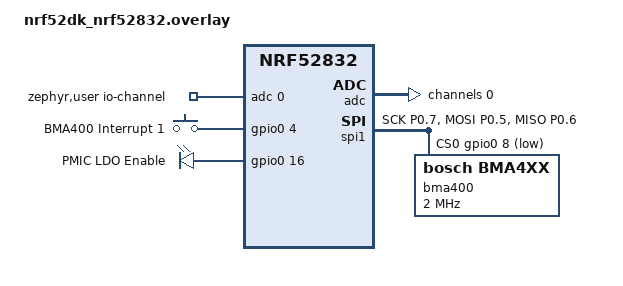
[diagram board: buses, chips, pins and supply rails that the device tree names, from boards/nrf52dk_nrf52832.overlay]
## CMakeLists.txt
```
#
# Copyright (c) 2016 Intel Corporation
#
# SPDX-License-Identifier: Apache-2.0
#

cmake_minimum_required(VERSION 3.20.0)
find_package(Zephyr REQUIRED HINTS $ENV{ZEPHYR_BASE})
project(nrf_connect_sdk_fundamentals)

target_sources(app PRIVATE src/main.c)
```

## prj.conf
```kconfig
#
# Copyright (c) 2024 Nordic Semiconductor
#
# SPDX-License-Identifier: LicenseRef-Nordic-5-Clause
#

CONFIG_LOG=y
CONFIG_LOG_MODE_IMMEDIATE=y
CONFIG_THREAD_NAME=y

# CONFIG_SERIAL=y
CONFIG_UART_ASYNC_API=y

# BLE
CONFIG_BT=y
CONFIG_BT_DEVICE_NAME="BHAR"
CONFIG_BT_OBSERVER=y
CONFIG_BT_SCAN=y
CONFIG_BT_SCAN_FILTER_ENABLE=y
CONFIG_BT_CENTRAL=y
CONFIG_BT_PERIPHERAL=y
CONFIG_BT_SCAN_ADDRESS_CNT=5
CONFIG_MAIN_STACK_SIZE=16384
CONFIG_BT_RX_STACK_SIZE=4096
CONFIG_DK_LIBRARY=y
# CONFIG_LOG_BUFFER_SIZE=10120

CONFIG_BT_PRIVACY=n
CONFIG_BT_CTLR_PRIVACY=n
CONFIG_BT_SCAN_WITH_IDENTITY=y
# CONFIG_BT_CRYPTO=y
```

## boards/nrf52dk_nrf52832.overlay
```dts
/* STEP 2.1 - Create an overlay file for your board */

/ {
    chosen {
        zephyr,bt-hci = &hci_sw_ble;
    };
    hci_sw_ble: hci_sw_ble {
        compatible = "zephyr,bt-hci-ll-sw-split";
        status = "okay";
    };
};

/{
	zephyr,user {
		io-channels = <&adc 0>;
	};
};

&adc {
	#address-cells = <1>;
	#size-cells = <0>;
	status = "okay";
	channel@0 {
		reg = <0>;
		zephyr,gain = "ADC_GAIN_1_3";
		zephyr,reference = "ADC_REF_INTERNAL";
		zephyr,acquisition-time = <ADC_ACQ_TIME(ADC_ACQ_TIME_MICROSECONDS, 10)>;
		zephyr,input-positive = <NRF_SAADC_AIN0>; /* P0.02 for nRF52xx, P0.04 for nRF53xx */
		zephyr,resolution = <12>;
	};
};


/{
    inputs {
        compatible = "gpio-keys";
        bmaint1: bmaint_1 {
            gpios = <&gpio0 4 (GPIO_PULL_DOWN | GPIO_ACTIVE_HIGH)>;
            label = "BMA400 Interrupt 1";
        };
    };

    aliases {
        int1 = &bmaint1;
    };
};

/{
    /delete-node/ buttons;

	outputs {
		compatible = "gpio-leds";
		pmic_hen: h_en {
			gpios = <&gpio0 16 GPIO_ACTIVE_HIGH>;
			label = "PMIC LDO Enable";
		};
	};

	aliases {
        hen = &pmic_hen;
        /delete-property/ sw0;
		/delete-property/ sw1;
		/delete-property/ sw2;
		/delete-property/ sw3;
        /delete-property/ mcuboot-button0;
    };
};

/* STEP 2.2 - Change the pin configuration */
&i2c0 {	status = "disabled";};
&spi0 {	status = "disabled";};
&i2c1 {	status = "disabled";};
&uart0 { status = "disabled";};
&spi2 { status = "disabled";};
&pwm0 { status = "disabled";};
&gpio0 {
	status = "okay";
	sense-edge-mask = < 0xffffffff >;
};
&spi1 {
 compatible = "nordic,nrf-spi"; //using SPI as per ERRATA 58
 status = "okay";
 pinctrl-0 = <&spi1_default>;
 pinctrl-1 = <&spi1_sleep>;
 pinctrl-names = "default", "sleep";
 cs-gpios = <&gpio0 8 GPIO_ACTIVE_LOW>;
 bma400: bma400@0 {
 compatible = "bosch,bma4xx";
 reg = <0>;
 spi-max-frequency = <2000000>;
 };
};

&pinctrl {
 spi1_default: spi1_default {
 group1 {
 psels = <NRF_PSEL(SPIM_SCK, 0, 7)>,
 <NRF_PSEL(SPIM_MOSI, 0, 5)>,
 <NRF_PSEL(SPIM_MISO, 0, 6)>;
 };
 };
 spi1_sleep: spi1_sleep {
 group1 {
 psels = <NRF_PSEL(SPIM_SCK, 0, 7)>,
 <NRF_PSEL(SPIM_MOSI, 0, 5)>,
 <NRF_PSEL(SPIM_MISO, 0, 6)>;
 low-power-enable;
 };
 };
};
```

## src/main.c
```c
/*
 * Copyright (c) 2024 Nordic Semiconductor ASA
 *
 * SPDX-License-Identifier: LicenseRef-Nordic-5-Clause
 */

#include <zephyr/kernel.h>
#include <zephyr/logging/log.h>
#include <zephyr/device.h>
#include <zephyr/pm/device.h>
#include <zephyr/devicetree.h>
#include <zephyr/drivers/gpio.h>
#include <zephyr/drivers/spi.h>
#include "bma400.h"
#include "bma400_defs.h"


#include <zephyr/bluetooth/addr.h>
#include <zephyr/drivers/adc.h>

//BLE STUFF
#include <zephyr/bluetooth/bluetooth.h>
#include <zephyr/bluetooth/conn.h>
#include <zephyr/bluetooth/gatt.h>
#include <zephyr/bluetooth/gap.h>

#include <zephyr/bluetooth/hci_types.h>
#include <zephyr/bluetooth/hci.h>

LOG_MODULE_REGISTER(app, LOG_LEVEL_DBG);

static const uint8_t central_irk[16] = {
    0x00, 0x01, 0x02, 0x03, 0x04, 0x05, 0x06, 0x07,
    0x08, 0x09, 0x0A, 0x0B, 0x0C, 0x0D, 0x0E, 0x0F
}; /* same IRK the central uses */

// #define SENSOR_ID "FF:EE:DD:CC:BB:AA"
// #define SHIFT_AMOUNT 12

// #define SENSOR_ID "FF:EE:DD:CC:BB:AB"
// #define SHIFT_AMOUNT 8

// #define SENSOR_ID "FF:EE:DD:CC:BB:AC"
// #define SHIFT_AMOUNT 4

#define SENSOR_ID "FF:EE:DD:CC:BB:AD"
#define SHIFT_AMOUNT 0

#define CENTRAL_ID_ADDR_STR "FF:EE:DD:CC:BB:EE" /* placeholder identity, same as before */
static int hci_add_dev_to_resolving_list(const bt_addr_le_t *peer_id_addr,
                                          const uint8_t *peer_irk)
{
    struct bt_hci_cp_le_add_dev_to_rl cp = {0};
    bt_addr_le_copy(&cp.peer_id_addr, peer_id_addr);
    memcpy(cp.peer_irk, peer_irk, 16);
    struct net_buf *buf = bt_hci_cmd_create(BT_HCI_OP_LE_ADD_DEV_TO_RL, sizeof(cp));
    if (!buf) return -ENOBUFS;
    net_buf_add_mem(buf, &cp, sizeof(cp));
    return bt_hci_cmd_send_sync(BT_HCI_OP_LE_ADD_DEV_TO_RL, buf, NULL);
}
static int hci_set_addr_resolution_enable(bool enable)
{
    struct bt_hci_cp_le_set_addr_res_enable cp = { .enable = enable };
    struct net_buf *buf = bt_hci_cmd_create(BT_HCI_OP_LE_SET_ADDR_RES_ENABLE, sizeof(cp));
    if (!buf) return -ENOBUFS;
    net_buf_add_mem(buf, &cp, sizeof(cp));
    return bt_hci_cmd_send_sync(BT_HCI_OP_LE_SET_ADDR_RES_ENABLE, buf, NULL);
}


// ============= Batteryless Mode =============
#define COMPANY_ID_CODE 0x0059
int16_t adc_buf;

bool last_tx_done = true;

/* STEP 2.2 - Declare the structure for your custom data  */
typedef struct adv_mfg_data {
    uint16_t company_code; /* Company Identifier Code. */
    uint8_t samples[24];
} adv_mfg_data_type;

struct adc_sequence sequence;

static const struct adc_dt_spec adc_channel = ADC_DT_SPEC_GET(DT_PATH(zephyr_user));

struct bt_le_ext_adv *adv_set;

/* Declare external variables defined in Link Layer */
extern volatile uint8_t g_raw_scan_req_mac[6];

static const struct bt_le_adv_param *adv_param =
    BT_LE_ADV_PARAM(BT_LE_ADV_OPT_SCANNABLE | BT_LE_ADV_OPT_USE_IDENTITY, /* No options specified */
            32, /* Min Advertising Interval 250ms (400*0.625ms) */
            33, /* Max Advertising Interval 250.625ms (401*0.625ms) */
            NULL); /* Set to NULL for undirected advertising */

static const struct bt_le_adv_param *adv_param_tx_rx =
    BT_LE_ADV_PARAM(BT_LE_ADV_OPT_CONN | BT_LE_ADV_OPT_USE_IDENTITY, /* No options specified */
            32, /* Min Advertising Interval 250ms (400*0.625ms) */
            33, /* Max Advertising Interval 250.625ms (401*0.625ms) */
            NULL); /* Set to NULL for undirected advertising */


/* STEP 2.3 - Define and initialize a variable of type adv_mfg_data_type */
static adv_mfg_data_type adv_mfg_data = {
    .company_code = COMPANY_ID_CODE,
    .samples = { 0x01, 0x02, 0x03, 0x04, 0x05, 0x06,
                 0x07, 0x08, 0x09, 0x0A, 0x0B, 0x0C,
                 0x0D, 0x0E, 0x0F, 0x10, 0x11, 0x12,
                 0x13, 0x14, 0x15, 0x16, 0x17, 0x18 }
};

static unsigned char url_data[] ={0x17,'/','/','a','c','a','d','e','m','y','.',
                                 'n','o','r','d','i','c','1','2','3','4','5','6','.','.',
                                 'c','o','m'};
static const struct bt_data scan_response_data[] = {
        /* 4.2.3 Include the URL data in the scan response packet*/
		BT_DATA(BT_DATA_URI, url_data,sizeof(url_data))
};

// TODO: I think this payload is too big, need to maybe remove or shorten the name
static const struct bt_data ad_batteryless[] = {
    // BT_DATA_BYTES(BT_DATA_FLAGS, BT_LE_AD_NO_BREDR),
    // BT_DATA(BT_DATA_NAME_COMPLETE, DEVICE_NAME, DEVICE_NAME_LEN),
    /* STEP 3 - Include the Manufacturer Specific Data in the advertising packet. */
    BT_DATA(BT_DATA_MANUFACTURER_DATA, (unsigned char *)&adv_mfg_data, sizeof(adv_mfg_data)),
};

static void timer0_handler(struct k_timer *dummy);
K_TIMER_DEFINE(timer0, timer0_handler, NULL);

static void adv_scanned_cb(struct bt_le_ext_adv *adv, 
                           struct bt_le_ext_adv_scanned_info *info)
{
    k_timer_stop(&timer0);
    // uint32_t prand = ((uint32_t)g_raw_scan_req_mac[3]) | 
    //                  ((uint32_t)g_raw_scan_req_mac[4] << 8) | 
    //                  ((uint32_t)g_raw_scan_req_mac[5] << 16);
    // uint32_t extracted_payload = prand & 0x3FFFFF;

    uint16_t prand = ((uint16_t)g_raw_scan_req_mac[3]) | 
                     ((uint16_t)g_raw_scan_req_mac[4] << 8);
    uint16_t extracted_payload = (prand >> SHIFT_AMOUNT) & 0x000F;

    if(extracted_payload == 0)
    {
        k_timer_start(&timer0, K_MSEC(500), K_MSEC(500));
    }
    else if(extracted_payload == 1)
    {
        k_timer_start(&timer0, K_MSEC(1000), K_MSEC(1000));
    }
    else if(extracted_payload == 2)
    {
        k_timer_start(&timer0, K_MSEC(2000), K_MSEC(2000));
    }
    else if(extracted_payload == 3)
    {
        k_timer_start(&timer0, K_MSEC(4000), K_MSEC(4000));
    }
    else
    {
        k_timer_start(&timer0, K_MSEC(500), K_MSEC(500));
    }


	// url_data[17] = mac[0];
	// url_data[18] = mac[1];
	// url_data[19] = mac[2];
	// url_data[20] = mac[3];
	// url_data[21] = mac[4];
	// url_data[22] = mac[5];
    
    // The central can read the scan response to see if feedback was received
    url_data[17] = g_raw_scan_req_mac[0];
    url_data[18] = g_raw_scan_req_mac[1];
    url_data[19] = g_raw_scan_req_mac[2];
    url_data[20] = g_raw_scan_req_mac[3];
    url_data[21] = g_raw_scan_req_mac[4];
    url_data[22] = g_raw_scan_req_mac[5];


	url_data[24] = 0x62;
	url_data[25] = 0x65;
	url_data[26] = 0x65;
	url_data[27] = 0x66;
	// message is 28 bytes long (last idx is 28)
}

static const struct bt_le_ext_adv_cb adv_callbacks = {
    .scanned = adv_scanned_cb, // <-- Bound here
	.sent = NULL,
	.connected = NULL
};


// threads
#define STACKSIZE 2048
#define THREAD_READ_BMA_PRIORITY 7
#define THREAD_RUN_POLICY_PRIORITY 8
K_SEM_DEFINE(bma400_ready, 0, 1);
K_SEM_DEFINE(run_policy, 0, 1);

// SPI
#define SPIOP	SPI_WORD_SET(8) | SPI_TRANSFER_MSB
struct spi_dt_spec spispec = SPI_DT_SPEC_GET(DT_NODELABEL(bma400), SPIOP, 0);
uint8_t rx_buffer[128] = {0};

// interrupt GPIO
#define int_NODE DT_ALIAS(int1)
static const struct gpio_dt_spec int_pin = GPIO_DT_SPEC_GET(int_NODE, gpios);
static struct gpio_callback int_cb_data;

// PMIC EN GPIO
#define hen_NODE DT_ALIAS(hen)
static const struct gpio_dt_spec hen_pin = GPIO_DT_SPEC_GET(hen_NODE, gpios);

// BMA400
#define BMA400_REG_FIFO_CONFIG_1                  UINT8_C(0x27)
#define FIFOINTER 3
#define FIFO_SAMPLES 8 // number of samples for fifo content
#define FIFO_WATERMARK_LEVEL    UINT16_C(FIFO_SAMPLES*4) // 4 bytes per frame (XYZ+header)
#define FIFO_FULL_SIZE          UINT16_C(1024)
#define FIFO_SIZE               (FIFO_FULL_SIZE + BMA400_FIFO_BYTES_OVERREAD)
#define FIFO_ACCEL_FRAME_COUNT  UINT8_C(FIFO_SAMPLES)

BMA400_INTF_RET_TYPE read_reg_spi(uint8_t reg_address, uint8_t* data, uint32_t len, void* intf_ptr);
BMA400_INTF_RET_TYPE write_reg_spi(uint8_t reg_address, const uint8_t* data, uint32_t len, void* intf_ptr);
void bma400_delay_us(uint32_t period, void *intf_ptr) {
	k_usleep(period);
}

static uint8_t              dev_addr    = 31;
struct bma400_dev           bma_sensor         = {
        .intf = BMA400_SPI_INTF,
        .intf_ptr = &dev_addr,
        .read = read_reg_spi,
        .write = write_reg_spi,
        .delay_us = bma400_delay_us,
        .read_write_len = 8
};

struct bma400_sensor_data acc_data;

struct bma400_int_enable int_en;
struct bma400_fifo_data fifo_frame;
struct bma400_device_conf fifo_conf;
struct bma400_sensor_conf conf;
uint8_t fifo_buff[FIFO_SIZE] = { 0 };

struct bma400_fifo_sensor_data accel_data[FIFO_ACCEL_FRAME_COUNT] = { { 0 } };
struct bma400_sensor_conf settings;


void bma_int_handler(const struct device *dev, struct gpio_callback *cb, uint32_t pins)
{
	// set the semaphore
	k_sem_give(&bma400_ready);
}


void thread_read_bma400(void)
{
	while(1){
		// LOG_INF("In the read thread");
		k_sem_take(&bma400_ready, K_FOREVER); // Sleep here if semaphore is at 0
			
        // Enable SPI
        const struct device *cons = DEVICE_DT_GET(DT_NODELABEL(spi1));
        pm_device_action_run(cons, PM_DEVICE_ACTION_RESUME);

        // read data from bma400 fifo
        bma400_get_fifo_data(&fifo_frame, &bma_sensor);
        uint16_t accel_frames_req = FIFO_SAMPLES;
        bma400_extract_accel(&fifo_frame, accel_data, &accel_frames_req, &bma_sensor);

        // after reading, disable the interrupt and put the bma400 to sleep
        int_en.type = BMA400_FIFO_WM_INT_EN;
        int_en.conf = BMA400_DISABLE;
        int8_t rslt = bma400_enable_interrupt(&int_en, 1, &bma_sensor);
        bma400_set_power_mode(BMA400_MODE_SLEEP,&bma_sensor);

        // Disable SPI
        pm_device_action_run(cons, PM_DEVICE_ACTION_SUSPEND);

        // Disable GPIO
        const struct device *cons1 = DEVICE_DT_GET(DT_NODELABEL(gpio0));
        pm_device_action_run(cons1, PM_DEVICE_ACTION_SUSPEND);


        // our accelerometer data is implicitly 8 bits but stored as 16 bits
        // we have 12 bit on the acceleometer 0000 1234 5678 ABCD
        // we grab the top 8 bit (1234 5678) -> 0000 1234 5678 0000, bottom 4 get zeroed out
        // then when we put convert into int16_t we have 0000 1234 5678 0000 (top 4 coulf be 1111 if negative)
        // even though we really only have 8 bits of resolution
        // so when we want to send 8 bits, we need to shift right 4 and grab bottom 8 bits
        // then when we receive, we will shift left back 4
        // Ex: 0x01F0 = 512 = 1G. Even though 512 cannot be stored in 8 bits, the implicit resolution is 8 bits since bottom 4 always 0
        // i.e. only the middle two hex digits will actually change for positive numbers
        // 0xFE00 = -512 = -1G
        // to transmit, we need to convert back to raw bytes
        // 0x0000 -> 0x07F0 (+), 0 -> 2032 by increments of 16
        // 0x0800 -> 0xFF0 (-), -2048 -> -16 by increments of 16
        for(int i = 0; i < 8; i++)
        {
            if(accel_data[i].x < 0)
            {
                adv_mfg_data.samples[i*3] = (accel_data[i].x + 4096) >> 4;
            }
            else
            {
                adv_mfg_data.samples[i*3] = accel_data[i].x  >> 4;
            }
            if(accel_data[i].y < 0)
            {
                adv_mfg_data.samples[i*3+1] = (accel_data[i].y + 4096) >> 4;
            }
            else
            {
                adv_mfg_data.samples[i*3+1] = accel_data[i].y  >> 4;
            }
            if(accel_data[i].z < 0)
            {
                adv_mfg_data.samples[i*3+2] = (accel_data[i].z + 4096) >> 4;
            }
            else
            {
                adv_mfg_data.samples[i*3+2] = accel_data[i].z  >> 4;
            }
        }
        // if(!got_feed)
        // {
        // 	bt_le_adv_update_data(ad_tx_rx, ARRAY_SIZE(ad_tx_rx), NULL, 0); // update adv data
        // }
        // bt_le_adv_update_data(ad_batteryless, ARRAY_SIZE(ad_batteryless), NULL, 0); // update adv data
        
        // gpio_pin_set_dt(&hen_pin, 1);
        // bt_le_adv_start(adv_param, ad_batteryless, ARRAY_SIZE(ad_batteryless), NULL, 0); // start advertising
        // bt_le_adv_start(adv_param, ad_batteryless, ARRAY_SIZE(ad_batteryless), scan_response_data, ARRAY_SIZE(scan_response_data)); // start advertising
        bt_le_ext_adv_set_data(adv_set, ad_batteryless, ARRAY_SIZE(ad_batteryless),scan_response_data, ARRAY_SIZE(scan_response_data));
        
        struct bt_le_ext_adv_start_param start_param = {
            .timeout = 0,
            .num_events = 1, // Transmit once again
        };
        bt_le_ext_adv_start(adv_set, &start_param);
        // bt_le_ext_adv_start(adv_set, NULL);
        // k_sleep(K_MSEC(18)); // wait at least one cycle
        // // bt_le_adv_stop(); // stop advertising
        // bt_le_ext_adv_stop(adv_set);
        last_tx_done = true;
	}
}

// Need to make sure stack is big enough to run NN code
K_THREAD_DEFINE(thread_read_bma400_id, STACKSIZE*4, thread_read_bma400, NULL, NULL, NULL, THREAD_READ_BMA_PRIORITY, 0, 0);



BMA400_INTF_RET_TYPE read_reg_spi(uint8_t reg_address, uint8_t* data, uint32_t len, void* intf_ptr)
{
	int err;

	/* STEP 4.1 - Set the transmit and receive buffers */
	// When reading the BMA400, the first byte read is a dummy, so we need to read two bytes and interpret the second one
	// For a transceive there are 3 steps:
	//		   |       step 1         | step 2 | step 3
	//	Master | 1[7 bit reg address] |  0x0   |   0x0
	//	Slave  |	     dummy        | dummy  | data from sensor	
	// therefore, if we want to read 1 byte from the sensor, we need to read 3 bytes from the sensor (1 during send, 2 during read)
	// Since the BMA400 API already adds the dummy byte, we only need to add one more byte
	// This extra byte is because the first read happens during the register write, so we need to read again	

	uint8_t tx_buffer = reg_address;
	struct spi_buf tx_spi_buf		= {.buf = (void *)&tx_buffer, .len = 1};
	struct spi_buf_set tx_spi_buf_set 	= {.buffers = &tx_spi_buf, .count = 1};
	struct spi_buf rx_spi_bufs 		= {.buf = rx_buffer, .len = len+1};
	struct spi_buf_set rx_spi_buf_set	= {.buffers = &rx_spi_bufs, .count = 1};
	

	/* STEP 4.2 - Call the transceive function */
	err = spi_transceive_dt(&spispec, &tx_spi_buf_set, &rx_spi_buf_set);
	if (err < 0) {
		LOG_ERR("spi_transceive_dt() failed, err: %d, 0x%02X", err,tx_buffer);
		// return err;
	}

	for(int i = 0; i < len; i++)
	{
		data[i] = rx_buffer[i+1]; // data[0] = dummy byte, data[1] = data
	}

	return 0;
}

BMA400_INTF_RET_TYPE write_reg_spi(uint8_t reg_address, const uint8_t* data, uint32_t len, void* intf_ptr)
{
	int err;

	/* STEP 5.1 - delcare a tx buffer having register address and data */
	// When writing to the BMA400, the first byte read is an adress, so we need to write two bytes
	// For a transceive there are 2 steps:
	//		   |       step 1         | step 2 |
	//	Master | 1[7 bit reg address] |  val   |
	//	Slave  |	     dummy        | dummy  |
	// therefore, if we want to write 1 byte to the sensor, we need to write 2 bytes from the sensor (1 adress, 1 data)
	uint8_t tx_buf[2] = {reg_address, data[0]}; // to write, set the MSB to 0
	struct spi_buf	tx_spi_buf 		= {.buf = tx_buf, .len = len+1};
	struct spi_buf_set tx_spi_buf_set	= {.buffers = &tx_spi_buf, .count = 1};

	/* STEP 5.2 - call the spi_write_dt function with SPISPEC to write buffers */
	err = spi_write_dt(&spispec, &tx_spi_buf_set);
	if (err < 0) {
		LOG_ERR("spi_write_dt() failed, err %d", err);
		return err;
	}

	return 0;
}

void init_fifo_watermark()
{
	conf.type = BMA400_ACCEL;
	int8_t rslt = bma400_get_sensor_conf(&conf, 1, &bma_sensor);

	conf.param.accel.odr = BMA400_ODR_25HZ;
	conf.param.accel.range = BMA400_RANGE_4G;
	conf.param.accel.data_src = BMA400_DATA_SRC_ACCEL_FILT_1;

	rslt = bma400_set_sensor_conf(&conf, 1, &bma_sensor);

	fifo_conf.type = BMA400_FIFO_CONF;

	rslt = bma400_get_device_conf(&fifo_conf, 1, &bma_sensor);

	fifo_conf.param.fifo_conf.conf_regs = BMA400_FIFO_8_BIT_EN | BMA400_FIFO_X_EN 
										| BMA400_FIFO_Y_EN 
										| BMA400_FIFO_Z_EN
										| BMA400_FIFO_AUTO_FLUSH;   // flush on power mode change
	fifo_conf.param.fifo_conf.conf_status = BMA400_ENABLE;
	fifo_conf.param.fifo_conf.fifo_watermark = FIFO_WATERMARK_LEVEL;
	fifo_conf.param.fifo_conf.fifo_wm_channel = BMA400_INT_CHANNEL_1;

	rslt = bma400_set_device_conf(&fifo_conf, 1, &bma_sensor);

	fifo_frame.data = fifo_buff;
	fifo_frame.length = FIFO_SIZE;

	int_en.type = BMA400_FIFO_WM_INT_EN;
	int_en.conf = BMA400_DISABLE;

	bma400_set_power_mode(BMA400_MODE_LOW_POWER,&bma_sensor);
	rslt = bma400_enable_interrupt(&int_en, 1, &bma_sensor);
}

void init_activity()
{
	settings.type = BMA400_GEN1_INT;
	bma400_get_sensor_conf(&settings, 1, &bma_sensor);

	settings.param.gen_int.int_chan = BMA400_INT_CHANNEL_1;
    settings.param.gen_int.axes_sel = BMA400_AXIS_XYZ_EN;
    settings.param.gen_int.data_src = BMA400_DATA_SRC_ACC_FILT2;
	settings.param.gen_int.criterion_sel = BMA400_ACTIVITY_INT;
	settings.param.gen_int.evaluate_axes = BMA400_ANY_AXES_INT;
    settings.param.gen_int.ref_update = BMA400_UPDATE_EVERY_TIME;
	settings.param.gen_int.hysteresis = BMA400_HYST_48_MG;
	settings.param.gen_int.gen_int_thres = 0x10;
	settings.param.gen_int.gen_int_dur = 15;

	bma400_set_sensor_conf(&settings, 1, &bma_sensor);

	int_en.type = BMA400_GEN1_INT_EN;
	int_en.conf = BMA400_ENABLE;

	bma400_set_power_mode(BMA400_MODE_NORMAL,&bma_sensor);
	bma400_enable_interrupt(&int_en, 1, &bma_sensor);
}

void init_read_lp()
{
	conf.type = BMA400_ACCEL;
	int8_t rslt = bma400_get_sensor_conf(&conf, 1, &bma_sensor);

	conf.param.accel.odr = BMA400_ODR_25HZ;
	conf.param.accel.range = BMA400_RANGE_4G;
	conf.param.accel.data_src = BMA400_DATA_SRC_ACCEL_FILT_1;
	conf.param.accel.osr_lp = BMA400_ACCEL_OSR_SETTING_0;
	conf.param.accel.int_chan = BMA400_INT_CHANNEL_1;

	rslt = bma400_set_sensor_conf(&conf, 1, &bma_sensor);

	int_en.type = BMA400_DRDY_INT_EN;
	int_en.conf = BMA400_ENABLE;

	bma400_set_power_mode(BMA400_MODE_LOW_POWER,&bma_sensor);
	bma400_enable_interrupt(&int_en, 1, &bma_sensor);
}



static void timer0_handler(struct k_timer *dummy)
{
    // set the semaphore
    k_sem_give(&run_policy);
}

void thread_run_policy(void)
{
    while(1)
    {
        k_sem_take(&run_policy, K_FOREVER); // Sleep here if semaphore is at 0
        static int val_mv;
        // 1. Read the ADC and convert to uJ
        // LOG_INF("---------- Time: %d ----------",current_time);
		const struct device *cons2 = adc_channel.dev;
        pm_device_action_run(cons2, PM_DEVICE_ACTION_RESUME);
        int8_t err = adc_read(adc_channel.dev, &sequence);
        if (err < 0) {
            LOG_ERR("Could not read (%d)", err);
        }
        val_mv = (int)adc_buf;
        err = adc_raw_to_millivolts_dt(&adc_channel, &val_mv);
        // val_mv = val_mv*4; // scale by voltage divider ratio
        // LOG_INF("1. Read ADC: %d mv, scaled: %d mv", val_mv, val_mv*15/10);

		// normal batteryless operation
		if(val_mv >= 1550)
		{
			const struct device *cons = DEVICE_DT_GET(DT_NODELABEL(spi1));
            pm_device_action_run(cons, PM_DEVICE_ACTION_RESUME);
			const struct device *cons1 = DEVICE_DT_GET(DT_NODELABEL(gpio0));
            pm_device_action_run(cons1, PM_DEVICE_ACTION_RESUME);

            int_en.type = BMA400_FIFO_WM_INT_EN;
            int_en.conf = BMA400_ENABLE;
            bma400_set_power_mode(BMA400_MODE_NORMAL,&bma_sensor);
            bma400_enable_interrupt(&int_en, 1, &bma_sensor);
            pm_device_action_run(cons, PM_DEVICE_ACTION_SUSPEND);
            last_tx_done = false;
		}
    }
}
K_THREAD_DEFINE(thread_run_policy_id, STACKSIZE, thread_run_policy, NULL, NULL, NULL, THREAD_RUN_POLICY_PRIORITY, 0, 0);



int main(void)
{
	// Sleep for a second to avoid dying on start
	k_sleep(K_MSEC(1000));

	int err;

	// =================== BLE
	// Fix the BLE address
	bt_addr_le_t addr;
    err = bt_addr_le_from_str(SENSOR_ID, "random", &addr);
    err = bt_id_create(&addr, NULL);

	// Enable BLE
    err = bt_enable(NULL);
    if (err) {
        LOG_ERR("Bluetooth init failed (err %d)\n", err);
        return -1;
    }

    bt_addr_le_t central_id;
    err = bt_addr_le_from_str(CENTRAL_ID_ADDR_STR, "random", &central_id);
    err = hci_add_dev_to_resolving_list(&central_id, central_irk);
    err = hci_set_addr_resolution_enable(true);
    err = bt_le_filter_accept_list_add(&central_id);


	// struct bt_le_adv_param adv_param_ = BT_LE_ADV_PARAM_INIT(
    //     BT_LE_ADV_OPT_SCANNABLE | 
	// 	BT_LE_ADV_OPT_USE_IDENTITY |
	// 	BT_LE_ADV_OPT_NOTIFY_SCAN_REQ,
    //     32,
    //     33,
    //     NULL
    // );

    struct bt_le_adv_param adv_param_ = BT_LE_ADV_PARAM_INIT(
        BT_LE_ADV_OPT_SCANNABLE |
        BT_LE_ADV_OPT_USE_IDENTITY |
        BT_LE_ADV_OPT_NOTIFY_SCAN_REQ |
        BT_LE_ADV_OPT_FILTER_SCAN_REQ,   /* <-- added */
        32,
        33,
        NULL
    );

	// bt_le_ext_adv_create(&adv_param, &adv_callbacks, &adv_set);
	bt_le_ext_adv_create(&adv_param_, &adv_callbacks, &adv_set);
	
	// =================== SPI
	/* STEP 10.1 - Check if SPI and GPIO devices are ready */
	err = spi_is_ready_dt(&spispec);
	if (!err) {
		LOG_ERR("Error: SPI device is not ready, err: %d", err);
		return 0;
	}
	bma400_init(&bma_sensor);
    init_fifo_watermark();
    const struct device *cons = DEVICE_DT_GET(DT_NODELABEL(spi1));
    pm_device_action_run(cons, PM_DEVICE_ACTION_SUSPEND);

	// =================== GPIO for bma_int
    if (!device_is_ready(int_pin.port)) {
        return -1;
    }
    err = gpio_pin_configure_dt(&int_pin, GPIO_INPUT);
    if (err < 0) {
        return -1;
    }
    /* STEP 3 - Configure the interrupt on the button's pin */
    err = gpio_pin_interrupt_configure_dt(&int_pin, GPIO_INT_EDGE_RISING);
    /* STEP 6 - Initialize the static struct gpio_callback variable   */
    gpio_init_callback(&int_cb_data, bma_int_handler, BIT(int_pin.pin));
    /* STEP 7 - Add the callback function by calling gpio_add_callback()   */
    gpio_add_callback(int_pin.port, &int_cb_data);
    // Need to reenable the gpio when we start the bma
    const struct device *cons1 = DEVICE_DT_GET(DT_NODELABEL(gpio0));
    pm_device_action_run(cons1, PM_DEVICE_ACTION_SUSPEND);


	// =================== ADC
	sequence.buffer = &adc_buf;
	sequence.buffer_size = sizeof(adc_buf);

	/* STEP 3.3 - validate that the ADC peripheral (SAADC) is ready */
	if (!adc_is_ready_dt(&adc_channel)) {
		LOG_ERR("ADC controller devivce %s not ready", adc_channel.dev->name);
		return 0;
	}
	/* STEP 3.4 - Setup the ADC channel */
	err = adc_channel_setup_dt(&adc_channel);
	if (err < 0) {
		LOG_ERR("Could not setup channel #%d (%d)", 0, err);
		return 0;
	}
	/* STEP 4.2 - Initialize the ADC sequence */
	err = adc_sequence_init_dt(&adc_channel, &sequence);
	if (err < 0) {
		LOG_ERR("Could not initalize sequnce");
		return 0;
	}
	const struct device *cons2 = adc_channel.dev;
    pm_device_action_run(cons2, PM_DEVICE_ACTION_SUSPEND);
	
	// Start the policy
	k_timer_start(&timer0, K_MSEC(500), K_MSEC(500));

	while(1){
		k_sleep(K_FOREVER);
	}

	return 0;
}
```

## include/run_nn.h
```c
/*
 * SPDX-FileCopyrightText: Copyright 2024 Arm Limited and/or its affiliates <open-source-office@arm.com>
 *
 * SPDX-License-Identifier: Apache-2.0
 *
 * Licensed under the Apache License, Version 2.0 (the License); you may
 * not use this file except in compliance with the License.
 * You may obtain a copy of the License at
 *
 * www.apache.org/licenses/LICENSE-2.0
 *
 * Unless required by applicable law or agreed to in writing, software
 * distributed under the License is distributed on an AS IS BASIS, WITHOUT
 * WARRANTIES OR CONDITIONS OF ANY KIND, either express or implied.
 * See the License for the specific language governing permissions and
 * limitations under the License.
 */

#include <arm_nnfunctions.h>
#include <stdbool.h>
#include <stdio.h>
#include <stdlib.h>

#include "NN/test_data.h"

// define the test to run
#define LSTM_TEST
// #define FC_TEST


#ifdef LSTM_TEST

// update the buffer size if adding a unit test with larger buffer.
#define LARGEST_BUFFER_SIZE LSTM_ONE_TIME_STEP_BHAR_HIDDEN_SIZE *LSTM_ONE_TIME_STEP_BHAR_BATCH_SIZE *LSTM_ONE_TIME_STEP_BHAR_TIME_STEPS

int8_t buffer1[LARGEST_BUFFER_SIZE];
int8_t buffer2[LARGEST_BUFFER_SIZE];
int8_t buffer3[LARGEST_BUFFER_SIZE];


void LSTM_ONE_TIME_STEP_BHAR(void)
{
    int8_t output[LSTM_ONE_TIME_STEP_BHAR_BATCH_SIZE * LSTM_ONE_TIME_STEP_BHAR_TIME_STEPS * LSTM_ONE_TIME_STEP_BHAR_HIDDEN_SIZE] = {0};
    const arm_cmsis_nn_status expected = ARM_CMSIS_NN_SUCCESS;
    const int8_t *output_ref = &lstm_one_time_step_bhar_output[0];
    const int32_t output_ref_size =
        LSTM_ONE_TIME_STEP_BHAR_BATCH_SIZE * LSTM_ONE_TIME_STEP_BHAR_TIME_STEPS * LSTM_ONE_TIME_STEP_BHAR_HIDDEN_SIZE;

    int32_t input_data_kernel_sum[LSTM_ONE_TIME_STEP_BHAR_HIDDEN_SIZE];
    int32_t forget_data_kernel_sum[LSTM_ONE_TIME_STEP_BHAR_HIDDEN_SIZE];
    int32_t cell_data_kernel_sum[LSTM_ONE_TIME_STEP_BHAR_HIDDEN_SIZE];
    int32_t output_data_kernel_sum[LSTM_ONE_TIME_STEP_BHAR_HIDDEN_SIZE];

    int32_t input_hidden_kernel_sum[LSTM_ONE_TIME_STEP_BHAR_HIDDEN_SIZE];
    int32_t forget_hidden_kernel_sum[LSTM_ONE_TIME_STEP_BHAR_HIDDEN_SIZE];
    int32_t cell_hidden_kernel_sum[LSTM_ONE_TIME_STEP_BHAR_HIDDEN_SIZE];
    int32_t output_hidden_kernel_sum[LSTM_ONE_TIME_STEP_BHAR_HIDDEN_SIZE];

    arm_vector_sum_s8(&input_data_kernel_sum[0],
                      LSTM_ONE_TIME_STEP_BHAR_INPUT_SIZE,
                      LSTM_ONE_TIME_STEP_BHAR_HIDDEN_SIZE,
                      &lstm_one_time_step_bhar_input_gate_input_weights[0],
                      LSTM_ONE_TIME_STEP_BHAR_INPUT_ZERO_POINT,
                      0,
                      &lstm_one_time_step_bhar_input_gate_bias[0]);
    arm_vector_sum_s8(&forget_data_kernel_sum[0],
                      LSTM_ONE_TIME_STEP_BHAR_INPUT_SIZE,
                      LSTM_ONE_TIME_STEP_BHAR_HIDDEN_SIZE,
                      &lstm_one_time_step_bhar_forget_gate_input_weights[0],
                      LSTM_ONE_TIME_STEP_BHAR_INPUT_ZERO_POINT,
                      0,
                      &lstm_one_time_step_bhar_forget_gate_bias[0]);
    arm_vector_sum_s8(&cell_data_kernel_sum[0],
                      LSTM_ONE_TIME_STEP_BHAR_INPUT_SIZE,
                      LSTM_ONE_TIME_STEP_BHAR_HIDDEN_SIZE,
                      &lstm_one_time_step_bhar_cell_gate_input_weights[0],
                      LSTM_ONE_TIME_STEP_BHAR_INPUT_ZERO_POINT,
                      0,
                      &lstm_one_time_step_bhar_cell_gate_bias[0]);
    arm_vector_sum_s8(&output_data_kernel_sum[0],
                      LSTM_ONE_TIME_STEP_BHAR_INPUT_SIZE,
                      LSTM_ONE_TIME_STEP_BHAR_HIDDEN_SIZE,
                      &lstm_one_time_step_bhar_output_gate_input_weights[0],
                      LSTM_ONE_TIME_STEP_BHAR_INPUT_ZERO_POINT,
                      0,
                      &lstm_one_time_step_bhar_output_gate_bias[0]);

    arm_vector_sum_s8(&input_hidden_kernel_sum[0],
                      LSTM_ONE_TIME_STEP_BHAR_HIDDEN_SIZE,
                      LSTM_ONE_TIME_STEP_BHAR_HIDDEN_SIZE,
                      &lstm_one_time_step_bhar_input_gate_hidden_weights[0],
                      -LSTM_ONE_TIME_STEP_BHAR_OUTPUT_ZERO_POINT,
                      0,
                      NULL);
    arm_vector_sum_s8(&forget_hidden_kernel_sum[0],
                      LSTM_ONE_TIME_STEP_BHAR_HIDDEN_SIZE,
                      LSTM_ONE_TIME_STEP_BHAR_HIDDEN_SIZE,
                      &lstm_one_time_step_bhar_forget_gate_hidden_weights[0],
                      -LSTM_ONE_TIME_STEP_BHAR_OUTPUT_ZERO_POINT,
                      0,
                      NULL);
    arm_vector_sum_s8(&cell_hidden_kernel_sum[0],
                      LSTM_ONE_TIME_STEP_BHAR_HIDDEN_SIZE,
                      LSTM_ONE_TIME_STEP_BHAR_HIDDEN_SIZE,
                      &lstm_one_time_step_bhar_cell_gate_hidden_weights[0],
                      -LSTM_ONE_TIME_STEP_BHAR_OUTPUT_ZERO_POINT,
                      0,
                      NULL);
    arm_vector_sum_s8(&output_hidden_kernel_sum[0],
                      LSTM_ONE_TIME_STEP_BHAR_HIDDEN_SIZE,
                      LSTM_ONE_TIME_STEP_BHAR_HIDDEN_SIZE,
                      &lstm_one_time_step_bhar_output_gate_hidden_weights[0],
                      -LSTM_ONE_TIME_STEP_BHAR_OUTPUT_ZERO_POINT,
                      0,
                      NULL);
    
    // INPUT GATE
    const cmsis_nn_lstm_gate gate_input = {LSTM_ONE_TIME_STEP_BHAR_INPUT_GATE_INPUT_MULTIPLIER,
                                           LSTM_ONE_TIME_STEP_BHAR_INPUT_GATE_INPUT_SHIFT,
                                           &lstm_one_time_step_bhar_input_gate_input_weights[0],
                                           &input_data_kernel_sum[0],
                                           LSTM_ONE_TIME_STEP_BHAR_INPUT_GATE_HIDDEN_MULTIPLIER,
                                           LSTM_ONE_TIME_STEP_BHAR_INPUT_GATE_HIDDEN_SHIFT,
                                           &lstm_one_time_step_bhar_input_gate_hidden_weights[0],
                                           &input_hidden_kernel_sum[0],
                                           &lstm_one_time_step_bhar_input_gate_bias[0],
                                           ARM_SIGMOID};

    // FORGET GATE
    const cmsis_nn_lstm_gate gate_forget = {LSTM_ONE_TIME_STEP_BHAR_FORGET_GATE_INPUT_MULTIPLIER,
                                            LSTM_ONE_TIME_STEP_BHAR_FORGET_GATE_INPUT_SHIFT,
                                            &lstm_one_time_step_bhar_forget_gate_input_weights[0],
                                            &forget_data_kernel_sum[0],
                                            LSTM_ONE_TIME_STEP_BHAR_FORGET_GATE_HIDDEN_MULTIPLIER,
                                            LSTM_ONE_TIME_STEP_BHAR_FORGET_GATE_HIDDEN_SHIFT,
                                            &lstm_one_time_step_bhar_forget_gate_hidden_weights[0],
                                            &forget_hidden_kernel_sum[0],
                                            &lstm_one_time_step_bhar_forget_gate_bias[0],
                                            ARM_SIGMOID};

    // CELL GATE
    const cmsis_nn_lstm_gate gate_cell = {LSTM_ONE_TIME_STEP_BHAR_CELL_GATE_INPUT_MULTIPLIER,
                                          LSTM_ONE_TIME_STEP_BHAR_CELL_GATE_INPUT_SHIFT,
                                          &lstm_one_time_step_bhar_cell_gate_input_weights[0],
                                          &cell_data_kernel_sum[0],
                                          LSTM_ONE_TIME_STEP_BHAR_CELL_GATE_HIDDEN_MULTIPLIER,
                                          LSTM_ONE_TIME_STEP_BHAR_CELL_GATE_HIDDEN_SHIFT,
                                          &lstm_one_time_step_bhar_cell_gate_hidden_weights[0],
                                          &cell_hidden_kernel_sum[0],
                                          &lstm_one_time_step_bhar_cell_gate_bias[0],
                                          ARM_TANH};

    // OUTPUT GATE
    const cmsis_nn_lstm_gate gate_output = {LSTM_ONE_TIME_STEP_BHAR_OUTPUT_GATE_INPUT_MULTIPLIER,
                                            LSTM_ONE_TIME_STEP_BHAR_OUTPUT_GATE_INPUT_SHIFT,
                                            &lstm_one_time_step_bhar_output_gate_input_weights[0],
                                            &output_data_kernel_sum[0],
                                            LSTM_ONE_TIME_STEP_BHAR_OUTPUT_GATE_HIDDEN_MULTIPLIER,
                                            LSTM_ONE_TIME_STEP_BHAR_OUTPUT_GATE_HIDDEN_SHIFT,
                                            &lstm_one_time_step_bhar_output_gate_hidden_weights[0],
                                            &output_hidden_kernel_sum[0],
                                            &lstm_one_time_step_bhar_output_gate_bias[0],
                                            ARM_SIGMOID};

    // LSTM DATA
    const cmsis_nn_lstm_params params = {LSTM_ONE_TIME_STEP_BHAR_TIME_MAJOR,
                                         LSTM_ONE_TIME_STEP_BHAR_BATCH_SIZE,
                                         LSTM_ONE_TIME_STEP_BHAR_TIME_STEPS,
                                         LSTM_ONE_TIME_STEP_BHAR_INPUT_SIZE,
                                         LSTM_ONE_TIME_STEP_BHAR_HIDDEN_SIZE,
                                         LSTM_ONE_TIME_STEP_BHAR_INPUT_ZERO_POINT,
                                         LSTM_ONE_TIME_STEP_BHAR_FORGET_TO_CELL_MULTIPLIER,
                                         LSTM_ONE_TIME_STEP_BHAR_FORGET_TO_CELL_SHIFT,
                                         LSTM_ONE_TIME_STEP_BHAR_INPUT_TO_CELL_MULTIPLIER,
                                         LSTM_ONE_TIME_STEP_BHAR_INPUT_TO_CELL_SHIFT,
                                         LSTM_ONE_TIME_STEP_BHAR_CELL_CLIP,
                                         LSTM_ONE_TIME_STEP_BHAR_CELL_SCALE_POWER,
                                         LSTM_ONE_TIME_STEP_BHAR_OUTPUT_MULTIPLIER,
                                         LSTM_ONE_TIME_STEP_BHAR_OUTPUT_SHIFT,
                                         LSTM_ONE_TIME_STEP_BHAR_OUTPUT_ZERO_POINT,
                                         gate_forget,
                                         gate_input,
                                         gate_cell,
                                         gate_output};

    cmsis_nn_lstm_context buffers;
    buffers.temp1 = buffer1;
    buffers.temp2 = buffer2;
    buffers.cell_state = buffer3;

    arm_cmsis_nn_status result = arm_lstm_unidirectional_s8(lstm_one_time_step_bhar_input_tensor, output, &params, &buffers);
}
#endif


#ifdef FC_TEST
void FC_BHAR(void)
{
    const arm_cmsis_nn_status expected = ARM_CMSIS_NN_SUCCESS;
    int8_t output[FC_POLICY_BHAR_DST_SIZE] = {0};

    cmsis_nn_context ctx;
    cmsis_nn_fc_params fc_params;
    // cmsis_nn_per_tensor_quant_params quant_params;
    cmsis_nn_quant_params quant_params;
    cmsis_nn_dims input_dims;
    cmsis_nn_dims filter_dims;
    cmsis_nn_dims bias_dims;
    cmsis_nn_dims output_dims;

    const int32_t *bias_data = fc_policy_bhar_biases;
    const int8_t *kernel_data = fc_policy_bhar_weights;
    const int8_t *input_data = fc_policy_bhar_input_tensor;
    const int8_t *output_ref = fc_policy_bhar_output_ref;
    const int32_t output_ref_size = FC_POLICY_BHAR_DST_SIZE;

    input_dims.n = FC_POLICY_BHAR_INPUT_BATCHES;
    input_dims.w = FC_POLICY_BHAR_INPUT_W;
    input_dims.h = FC_POLICY_BHAR_INPUT_H;
    input_dims.c = FC_POLICY_BHAR_IN_CH;
    filter_dims.n = FC_POLICY_BHAR_ACCUMULATION_DEPTH;
    filter_dims.c = FC_POLICY_BHAR_OUT_CH;
    output_dims.n = FC_POLICY_BHAR_INPUT_BATCHES;
    output_dims.c = FC_POLICY_BHAR_OUT_CH;

    fc_params.input_offset = FC_POLICY_BHAR_INPUT_OFFSET;
    fc_params.filter_offset = 0;
    fc_params.output_offset = FC_POLICY_BHAR_OUTPUT_OFFSET;
    fc_params.activation.min = FC_POLICY_BHAR_OUT_ACTIVATION_MIN;
    fc_params.activation.max = FC_POLICY_BHAR_OUT_ACTIVATION_MAX;

    quant_params.multiplier = fc_policy_bhar_output_multiplier;
    quant_params.shift = fc_policy_bhar_output_shift;
    quant_params.is_per_channel = true;

    const int32_t buf_size = arm_fully_connected_s8_get_buffer_size(&filter_dims);
    ctx.buf = malloc(buf_size);
    ctx.size = buf_size;


    arm_cmsis_nn_status result = arm_fully_connected_wrapper_s8(&ctx,
                                                        &fc_params,
                                                        &quant_params,
                                                        &input_dims,
                                                        input_data,
                                                        &filter_dims,
                                                        kernel_data,
                                                        &bias_dims,
                                                        bias_data,
                                                        &output_dims,
                                                        output);

    if (ctx.buf)
    {
        // The caller is responsible to clear the scratch buffers for security reasons if applicable.
        memset(ctx.buf, 0, buf_size);
        free(ctx.buf);
    }
}
#endif
```
